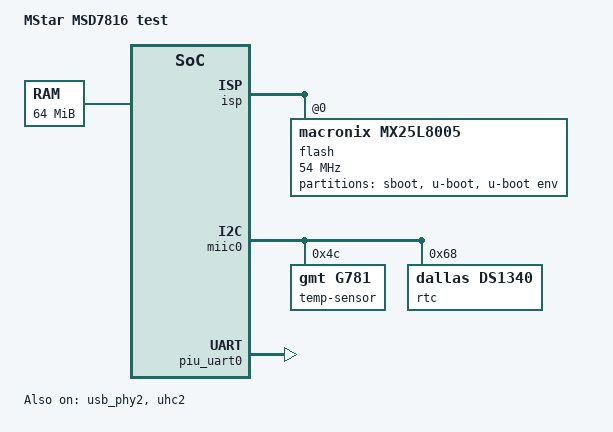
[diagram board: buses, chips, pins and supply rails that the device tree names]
// SPDX-License-Identifier: GPL-2.0
/dts-v1/;

#include "kronus-msd7816.dtsi"

/ {
	compatible = "mstar,msd7816", "mstar,kronus";
	model = "MStar MSD7816 test";

	aliases {
		serial0 = &piu_uart0;
	};

	chosen {
		bootargs = "console=ttyS0,115200 root=/dev/sda2 rootwait clk_ignore_unused";
	};

	memory@0 {
		device_type = "memory";
		reg = <0x0 0x4000000>;
	};

	reserved-memory {
		#address-cells = <1>;
		#size-cells = <1>;
		ranges;

		/* 4 megs for the framebuffer (will fit 1920x1080 @ 16bpp) */
		fb-memory@3800000 {
			reg = <0x3800000 0x400000>;
		};

		/* reserve this for our experiments */
		tsukasa@3c00000 {
			reg = <0x3c00000 0x400000>;
		};
	};

	framebuffer@3800000 {
		compatible = "simple-framebuffer";
		reg = <0x3800000 0x400000>;
		width = <1920>;
		height = <1080>;
		stride = <(1920*2)>;
		format = "r5g6b5";
	};
};


&isp {
	#address-cells = <1>;
	#size-cells = <0>;
	status = "okay";

	flash@0 {
		compatible = "macronix,mx25l8005", "jedec,spi-nor";
		reg = <0>;
		spi-max-frequency = <54000000>; /* something like that */
		m25p,fast-read;

		partitions {
			#address-cells = <1>;
			#size-cells = <1>;
			compatible = "fixed-partitions";

			sboot@0 {
				label = "sboot";
				reg = <0x0 0x10000>;
			};

			u-boot@10000 {
				label = "u-boot";
				reg = <0x10000 0xd0000>;
			};

			u-boot-env@e0000 {
				label = "u-boot env";
				reg = <0xe0000 0x20000>;
			};
		};
	};
};

&miic0 {
	#address-cells = <1>;
	#size-cells = <0>;
	status = "okay";

	temp-sensor@4c {
		compatible = "gmt,g781";
		reg = <0x4c>;
		#thermal-sensor-cells = <1>;
	};

	rtc@68 {
		compatible = "dallas,ds1340";
		reg = <0x68>;
	};
};

&usb_phy2 {
	status = "okay";
};

&uhc2 {
	status = "okay";
};

&piu_uart0 {
	status = "okay";
};
